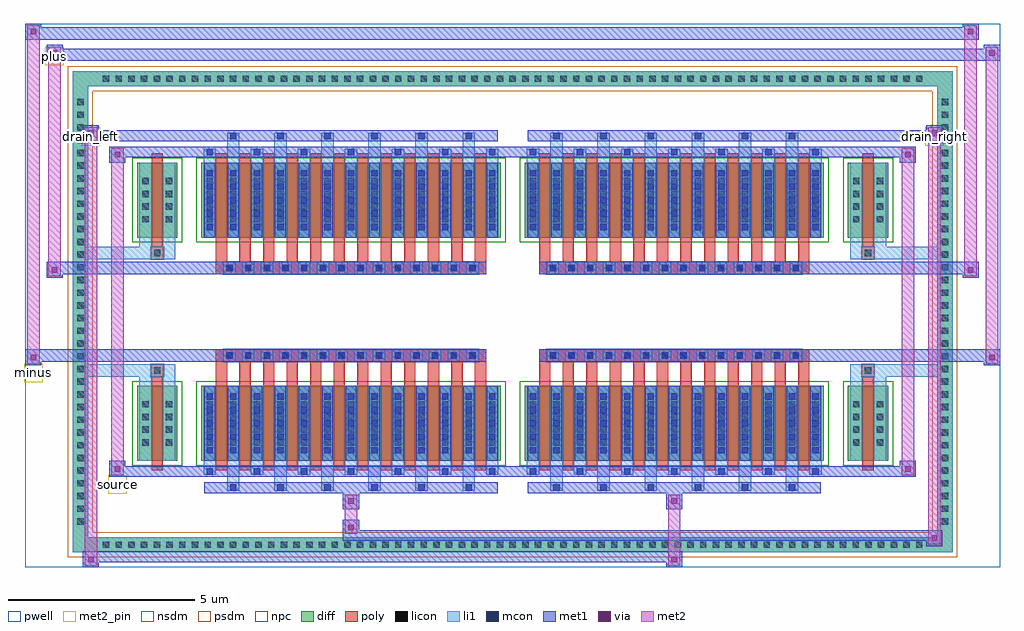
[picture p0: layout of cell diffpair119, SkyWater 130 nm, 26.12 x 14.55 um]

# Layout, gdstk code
import gdstk
lib = gdstk.Library(unit=1e-6, precision=5e-09)
def R(c, l, rs):  # rectangles x0, y0, x1, y1
    for r in rs: c.add(gdstk.rectangle(r[:2], r[2:], *l))
def A(c, l, x, y, w, h, nx, ny, dx, dy):  # array of equal rectangles
    R(c, l, [(x+i*dx, y+j*dy, x+i*dx+w, y+j*dy+h) for i in range(nx) for j in range(ny)])
def P(c, l, *ps):  # polygons
    for p in ps: c.add(gdstk.Polygon(p, *l))
pwell = (64, 44)
diff = (65, 20)
poly = (66, 20)
licon = (66, 44)
li1 = (67, 20)
mcon = (67, 44)
met1 = (68, 20)
via = (68, 44)
met2_pin = (69, 16)
met2 = (69, 20)
nsdm = (93, 44)
psdm = (94, 20)
npc = (95, 20)

diffpair119 = lib.new_cell('diffpair119')
R(diffpair119, pwell, [(-13.04,-6.84,13.04,7.71), (-10.36,-5.03,-0.01,-0.805), (0.01,-5.03,10.36,-0.805), (-10.36,0.805,-0.01,5.03), (0.01,0.805,10.36,5.03)])
A(diffpair119, diff, -11.085, -6.44, 0.41, 0.41, 65, 2, 0.34, 12.47)
A(diffpair119, diff, -11.77, -5.815, 0.41, 0.41, 1, 34, 0, 0.34)
A(diffpair119, diff, 11.36, -5.815, 0.41, 0.41, 1, 34, 0, 0.34)
R(diffpair119, diff, [(-11.085,-6.44,11.085,-6.03), (-11.77,-5.815,-11.36,5.815), (11.36,-5.815,11.77,5.815), (-10.05,-3.985,-8.97,-1.985), (-8.33,-3.985,-0.32,-1.985), (0.32,-3.985,8.33,-1.985), (8.97,-3.985,10.05,-1.985), (-10.05,1.985,-8.97,3.985), (-8.33,1.985,-0.32,3.985), (0.32,1.985,8.33,3.985), (8.97,1.985,10.05,3.985), (-11.085,6.03,11.085,6.44)])
P(diffpair119, diff, [(11.77,6.44),(-11.77,6.44),(-11.77,-6.03),(-11.36,-6.03),(-11.36,6.03),(11.36,6.03),(11.36,-6.03),(-11.36,-6.03),(-11.77,-6.03),(-11.77,-6.44),(11.77,-6.44)])
A(diffpair119, poly, -7.94, -4.235, 0.3, 2.5, 12, 2, 0.63, 5.97)
A(diffpair119, poly, 0.71, -4.235, 0.3, 2.5, 12, 2, 0.63, 5.97)
A(diffpair119, poly, -7.94, -1.735, 0.3, 0.4, 12, 2, 0.63, 3.07)
A(diffpair119, poly, 0.71, -1.735, 0.3, 0.4, 12, 2, 0.63, 3.07)
A(diffpair119, poly, -7.74, -1.335, 0.33, 0.33, 14, 2, 0.5, 2.34)
A(diffpair119, poly, 0.91, -1.335, 0.33, 0.33, 14, 2, 0.5, 2.34)
R(diffpair119, poly, [(-9.66,-4.235,-9.36,-1.735), (9.36,-4.235,9.66,-1.735), (-9.675,-1.735,-9.345,-1.405), (-9.675,-1.735,-9.345,-1.405), (9.345,-1.735,9.675,-1.405), (9.345,-1.735,9.675,-1.405), (-7.94,-1.335,-0.71,-1.005), (0.71,-1.335,7.94,-1.005), (-7.94,1.005,-0.71,1.335), (0.71,1.005,7.94,1.335), (-9.675,1.405,-9.345,1.735), (-9.675,1.405,-9.345,1.735), (9.345,1.405,9.675,1.735), (9.345,1.405,9.675,1.735), (-9.66,1.735,-9.36,4.235), (9.36,1.735,9.66,4.235)])
A(diffpair119, licon, -10.965, -6.32, 0.17, 0.17, 65, 2, 0.34, 12.47)
A(diffpair119, licon, -11.65, -5.695, 0.17, 0.17, 1, 34, 0, 0.34)
A(diffpair119, licon, 11.48, -5.695, 0.17, 0.17, 1, 34, 0, 0.34)
A(diffpair119, licon, -9.91, -3.58, 0.17, 0.17, 1, 4, 0, 0.34)
A(diffpair119, licon, -9.28, -3.58, 0.17, 0.17, 1, 4, 0, 0.34)
A(diffpair119, licon, -8.19, -3.58, 0.17, 0.17, 13, 4, 0.63, 0.34)
A(diffpair119, licon, 0.46, -3.58, 0.17, 0.17, 13, 4, 0.63, 0.34)
A(diffpair119, licon, 9.11, -3.58, 0.17, 0.17, 1, 4, 0, 0.34)
A(diffpair119, licon, 9.74, -3.58, 0.17, 0.17, 1, 4, 0, 0.34)
A(diffpair119, licon, -7.66, -1.255, 0.17, 0.17, 14, 2, 0.5, 2.34)
A(diffpair119, licon, 0.99, -1.255, 0.17, 0.17, 14, 2, 0.5, 2.34)
A(diffpair119, licon, -9.91, 2.39, 0.17, 0.17, 1, 4, 0, 0.34)
A(diffpair119, licon, -9.28, 2.39, 0.17, 0.17, 1, 4, 0, 0.34)
A(diffpair119, licon, -8.19, 2.39, 0.17, 0.17, 13, 4, 0.63, 0.34)
A(diffpair119, licon, 0.46, 2.39, 0.17, 0.17, 13, 4, 0.63, 0.34)
A(diffpair119, licon, 9.11, 2.39, 0.17, 0.17, 1, 4, 0, 0.34)
A(diffpair119, licon, 9.74, 2.39, 0.17, 0.17, 1, 4, 0, 0.34)
R(diffpair119, licon, [(-9.595,-1.655,-9.425,-1.485), (9.425,-1.655,9.595,-1.485), (-9.595,1.485,-9.425,1.655), (9.425,1.485,9.595,1.655)])
A(diffpair119, li1, -11.045, -6.4, 0.33, 0.33, 65, 2, 0.34, 12.47)
A(diffpair119, li1, -11.73, -5.775, 0.33, 0.33, 1, 34, 0, 0.34)
A(diffpair119, li1, 11.4, -5.775, 0.33, 0.33, 1, 34, 0, 0.34)
A(diffpair119, li1, -7.64, -4.79, 0.33, 0.805, 6, 2, 1.26, 8.775)
A(diffpair119, li1, -7.56, -4.79, 0.17, 0.17, 6, 2, 1.26, 9.41)
A(diffpair119, li1, 1.01, -4.79, 0.33, 0.805, 6, 2, 1.26, 8.775)
A(diffpair119, li1, 1.09, -4.79, 0.17, 0.17, 6, 2, 1.26, 9.41)
A(diffpair119, li1, -8.27, -4.36, 0.33, 0.375, 7, 2, 1.26, 8.345)
A(diffpair119, li1, -8.19, -4.36, 0.17, 0.17, 7, 2, 1.26, 8.55)
A(diffpair119, li1, 0.38, -4.36, 0.33, 0.375, 7, 2, 1.26, 8.345)
A(diffpair119, li1, 0.46, -4.36, 0.17, 0.17, 7, 2, 1.26, 8.55)
A(diffpair119, li1, -8.27, -3.985, 0.33, 2, 13, 2, 0.63, 5.97)
A(diffpair119, li1, 0.38, -3.985, 0.33, 2, 13, 2, 0.63, 5.97)
A(diffpair119, li1, -8.19, -3.79, 0.17, 0.17, 13, 5, 0.63, 0.36)
A(diffpair119, li1, -8.19, -3.79, 0.17, 1.61, 13, 2, 0.63, 5.97)
A(diffpair119, li1, 0.46, -3.79, 0.17, 0.17, 13, 5, 0.63, 0.36)
A(diffpair119, li1, 0.46, -3.79, 0.17, 1.61, 13, 2, 0.63, 5.97)
A(diffpair119, li1, -9.99, -3.66, 0.33, 0.33, 1, 4, 0, 0.34)
A(diffpair119, li1, -9.36, -3.66, 0.33, 0.33, 1, 4, 0, 0.34)
A(diffpair119, li1, -8.27, -3.66, 0.33, 0.33, 13, 4, 0.63, 0.34)
A(diffpair119, li1, 0.38, -3.66, 0.33, 0.33, 13, 4, 0.63, 0.34)
A(diffpair119, li1, 9.03, -3.66, 0.33, 0.33, 1, 4, 0, 0.34)
A(diffpair119, li1, 9.66, -3.66, 0.33, 0.33, 1, 4, 0, 0.34)
A(diffpair119, li1, -7.74, -1.335, 0.33, 0.33, 14, 2, 0.5, 2.34)
A(diffpair119, li1, 0.91, -1.335, 0.33, 0.33, 14, 2, 0.5, 2.34)
A(diffpair119, li1, -8.19, 2.18, 0.17, 0.17, 13, 5, 0.63, 0.36)
A(diffpair119, li1, 0.46, 2.18, 0.17, 0.17, 13, 5, 0.63, 0.36)
A(diffpair119, li1, -9.99, 2.31, 0.33, 0.33, 1, 4, 0, 0.34)
A(diffpair119, li1, -9.36, 2.31, 0.33, 0.33, 1, 4, 0, 0.34)
A(diffpair119, li1, -8.27, 2.31, 0.33, 0.33, 13, 4, 0.63, 0.34)
A(diffpair119, li1, 0.38, 2.31, 0.33, 0.33, 13, 4, 0.63, 0.34)
A(diffpair119, li1, 9.03, 2.31, 0.33, 0.33, 1, 4, 0, 0.34)
A(diffpair119, li1, 9.66, 2.31, 0.33, 0.33, 1, 4, 0, 0.34)
R(diffpair119, li1, [(-11.77,-6.44,-11.36,-6.03), (-11.77,-6.44,-11.36,-6.03), (-11.36,-6.44,11.36,-6.03), (11.36,-6.44,11.77,-6.03), (11.36,-6.44,11.77,-6.03), (-11.77,-6.03,-11.36,6.03), (11.36,-6.03,11.77,6.03), (-9.99,-3.985,-9.66,-1.985), (-9.36,-3.985,-9.03,-1.985), (9.03,-3.985,9.36,-1.985), (9.66,-3.985,9.99,-1.985), (-9.99,-1.985,-9.66,-1.405), (-9.36,-1.985,-9.03,-1.405), (9.03,-1.985,9.36,-1.405), (9.66,-1.985,9.99,-1.405), (-11.77,-1.735,-9.675,-1.405), (-9.99,-1.735,-9.675,-1.405), (-9.675,-1.735,-9.345,-1.405), (-9.345,-1.735,-9.03,-1.405), (9.03,-1.735,9.345,-1.405), (9.345,-1.735,9.675,-1.405), (9.345,-1.735,11.77,-1.405), (9.675,-1.735,9.99,-1.405), (-11.77,1.405,-9.675,1.735), (-9.99,1.405,-9.675,1.735), (-9.99,1.405,-9.66,1.985), (-9.675,1.405,-9.345,1.735), (-9.36,1.405,-9.03,1.985), (-9.345,1.405,-9.03,1.735), (9.03,1.405,9.345,1.735), (9.03,1.405,9.36,1.985), (9.345,1.405,9.675,1.735), (9.345,1.405,11.77,1.735), (9.66,1.405,9.99,1.985), (9.675,1.405,9.99,1.735), (-9.99,1.985,-9.66,3.985), (-9.36,1.985,-9.03,3.985), (9.03,1.985,9.36,3.985), (9.66,1.985,9.99,3.985), (-11.77,6.03,-11.36,6.44), (-11.77,6.03,-11.36,6.44), (-11.36,6.03,11.36,6.44), (11.36,6.03,11.77,6.44), (11.36,6.03,11.77,6.44)])
A(diffpair119, mcon, -7.56, -4.79, 0.17, 0.17, 6, 2, 1.26, 9.41)
A(diffpair119, mcon, 1.09, -4.79, 0.17, 0.17, 6, 2, 1.26, 9.41)
A(diffpair119, mcon, -8.19, -4.36, 0.17, 0.17, 7, 2, 1.26, 8.55)
A(diffpair119, mcon, 0.46, -4.36, 0.17, 0.17, 7, 2, 1.26, 8.55)
A(diffpair119, mcon, -8.19, -3.79, 0.17, 0.17, 13, 5, 0.63, 0.36)
A(diffpair119, mcon, 0.46, -3.79, 0.17, 0.17, 13, 5, 0.63, 0.36)
A(diffpair119, mcon, -7.66, -1.255, 0.17, 0.17, 14, 2, 0.5, 2.34)
A(diffpair119, mcon, 0.99, -1.255, 0.17, 0.17, 14, 2, 0.5, 2.34)
A(diffpair119, mcon, -8.19, 2.18, 0.17, 0.17, 13, 5, 0.63, 0.36)
A(diffpair119, mcon, 0.46, 2.18, 0.17, 0.17, 13, 5, 0.63, 0.36)
A(diffpair119, met1, -7.62, -4.85, 0.29, 0.29, 6, 2, 1.26, 9.41)
A(diffpair119, met1, 1.03, -4.85, 0.29, 0.29, 6, 2, 1.26, 9.41)
A(diffpair119, met1, -8.25, -4.42, 0.29, 0.29, 7, 2, 1.26, 8.55)
A(diffpair119, met1, 0.4, -4.42, 0.29, 0.29, 7, 2, 1.26, 8.55)
A(diffpair119, met1, -8.25, -3.985, 0.29, 2, 13, 2, 0.63, 5.97)
A(diffpair119, met1, 0.4, -3.985, 0.29, 2, 13, 2, 0.63, 5.97)
A(diffpair119, met1, -8.25, -3.85, 0.29, 0.29, 13, 5, 0.63, 0.36)
A(diffpair119, met1, 0.4, -3.85, 0.29, 0.29, 13, 5, 0.63, 0.36)
A(diffpair119, met1, -7.72, -1.315, 0.29, 0.29, 14, 2, 0.5, 2.34)
A(diffpair119, met1, 0.93, -1.315, 0.29, 0.29, 14, 2, 0.5, 2.34)
A(diffpair119, met1, -8.25, 2.12, 0.29, 0.29, 13, 5, 0.63, 0.36)
A(diffpair119, met1, 0.4, 2.12, 0.29, 0.29, 13, 5, 0.63, 0.36)
R(diffpair119, met1, [(-11.5,-6.84,-11.07,-6.41), (4.11,-6.84,4.54,-6.41), (-11.5,-6.7,4.54,-6.41), (11.07,-6.27,11.5,-5.84), (-4.54,-6.13,11.5,-5.84), (-4.54,-5.99,-4.11,-5.56), (-4.54,-5.28,-4.11,-4.85), (4.11,-5.28,4.54,-4.85), (-8.25,-4.85,-0.4,-4.56), (0.4,-4.85,8.25,-4.56), (-10.79,-4.42,-10.36,-3.99), (-10.79,-4.42,-8.25,-4.13), (-8.25,-4.42,-0.4,-4.13), (-0.4,-4.42,0.4,-4.13), (0.4,-4.42,8.25,-4.13), (8.25,-4.42,10.79,-4.13), (10.36,-4.42,10.79,-3.99), (-13.04,-1.435,-12.61,-1.005), (12.61,-1.435,13.04,-1.005), (-13.04,-1.335,-0.71,-1.005), (-7.94,-1.335,-0.71,-1.005), (0.71,-1.335,7.94,-1.005), (0.71,-1.335,13.04,-1.005), (-12.47,0.905,-12.04,1.335), (12.04,0.905,12.47,1.335), (-12.47,1.005,-7.94,1.335), (-7.94,1.005,-0.71,1.335), (0.71,1.005,7.94,1.335), (7.94,1.005,12.47,1.335), (-10.79,3.99,-10.36,4.42), (10.36,3.99,10.79,4.42), (-10.79,4.13,-8.25,4.42), (-8.25,4.13,-0.4,4.42), (-0.4,4.13,0.4,4.42), (0.4,4.13,8.25,4.42), (8.25,4.13,10.79,4.42), (-11.5,4.56,-11.07,4.99), (-11.5,4.56,-8.25,4.85), (-8.25,4.56,-0.4,4.85), (0.4,4.56,8.25,4.85), (8.25,4.56,11.5,4.85), (11.07,4.56,11.5,4.99), (-12.47,6.71,-12.04,7.14), (-12.47,6.71,-10.36,7.04), (-10.36,6.71,10.36,7.04), (10.36,6.71,13.04,7.04), (12.61,6.71,13.04,7.14), (-13.04,7.28,-12.61,7.71), (-13.04,7.28,-10.36,7.61), (-10.36,7.28,10.36,7.61), (10.36,7.28,12.47,7.61), (12.04,7.28,12.47,7.71)])
R(diffpair119, via, [(-11.36,-6.7,-11.21,-6.55), (4.25,-6.7,4.4,-6.55), (11.21,-6.13,11.36,-5.98), (-4.4,-5.85,-4.25,-5.7), (-4.4,-5.14,-4.25,-4.99), (4.25,-5.14,4.4,-4.99), (-10.65,-4.28,-10.5,-4.13), (10.5,-4.28,10.65,-4.13), (-12.9,-1.295,-12.75,-1.145), (12.75,-1.295,12.9,-1.145), (-12.33,1.045,-12.18,1.195), (12.18,1.045,12.33,1.195), (-10.65,4.13,-10.5,4.28), (10.5,4.13,10.65,4.28), (-11.36,4.7,-11.21,4.85), (11.21,4.7,11.36,4.85), (-12.33,6.85,-12.18,7), (12.75,6.85,12.9,7), (-12.9,7.42,-12.75,7.57), (12.18,7.42,12.33,7.57)])
R(diffpair119, met2_pin, [(-10.825,-4.87,-10.325,-4.37), (-13.075,-1.885,-12.575,-1.385), (-11.535,4.44,-11.035,4.94), (11.035,4.44,11.535,4.94), (-12.505,6.59,-12.005,7.09)])
R(diffpair119, met2, [(-11.45,-6.79,-11.12,-6.46), (-11.45,-6.79,-11.12,4.94), (4.16,-6.79,4.49,-6.46), (4.16,-6.46,4.49,-5.23), (11.12,-6.22,11.45,-5.89), (11.12,-6.22,11.45,4.94), (-4.49,-5.94,-4.16,-5.61), (-4.49,-5.61,-4.16,-5.23), (-4.49,-5.23,-4.16,-4.9), (4.16,-5.23,4.49,-4.9), (-10.74,-4.37,-10.41,-4.04), (-10.74,-4.37,-10.41,4.37), (10.41,-4.37,10.74,-4.04), (10.41,-4.37,10.74,4.37), (-12.99,-1.385,-12.66,-1.055), (-12.99,-1.385,-12.66,7.66), (12.66,-1.385,12.99,-1.055), (12.66,-1.385,12.99,7.09), (-12.42,0.955,-12.09,1.285), (-12.42,0.955,-12.09,7.09), (12.09,0.955,12.42,1.285), (12.09,0.955,12.42,7.66), (-10.74,4.04,-10.41,4.37), (10.41,4.04,10.74,4.37), (-11.45,4.61,-11.12,4.94), (11.12,4.61,11.45,4.94), (-12.42,6.76,-12.09,7.09), (12.66,6.76,12.99,7.09), (-12.99,7.33,-12.66,7.66), (12.09,7.33,12.42,7.66)])
P(diffpair119, met2, [(12.99,-1.385),(12.99,-1.385),(12.99,-1.055),(12.99,-1.055)],
  [(12.99,6.76),(12.99,6.76),(12.99,7.09),(12.99,7.09)],
  [(-12.66,-1.385),(-12.66,-1.385),(-12.66,-1.055),(-12.66,-1.055)],
  [(-12.66,7.33),(-12.66,7.33),(-12.66,7.66),(-12.66,7.66)],
  [(12.42,0.955),(12.42,0.955),(12.42,1.285),(12.42,1.285)],
  [(12.42,7.33),(12.42,7.33),(12.42,7.66),(12.42,7.66)],
  [(-12.09,0.955),(-12.09,0.955),(-12.09,1.285),(-12.09,1.285)],
  [(-12.09,6.76),(-12.09,6.76),(-12.09,7.09),(-12.09,7.09)],
  [(-11.12,-6.79),(-11.12,-6.79),(-11.12,-6.46),(-11.12,-6.46)],
  [(-11.12,4.61),(-11.12,4.61),(-11.12,4.94),(-11.12,4.94)],
  [(11.45,-6.22),(11.45,-6.22),(11.45,-5.89),(11.45,-5.89)],
  [(11.45,4.61),(11.45,4.61),(11.45,4.94),(11.45,4.94)],
  [(-10.41,-4.37),(-10.41,-4.37),(-10.41,-4.04),(-10.41,-4.04)],
  [(-10.41,4.04),(-10.41,4.04),(-10.41,4.37),(-10.41,4.37)],
  [(10.74,-4.37),(10.74,-4.37),(10.74,-4.04),(10.74,-4.04)],
  [(10.74,4.04),(10.74,4.04),(10.74,4.37),(10.74,4.37)])
R(diffpair119, nsdm, [(-10.18,-4.115,-8.84,-1.855), (-8.46,-4.115,-0.19,-1.855), (0.19,-4.115,8.46,-1.855), (8.84,-4.115,10.18,-1.855), (-10.18,1.855,-8.84,4.115), (-8.46,1.855,-0.19,4.115), (0.19,1.855,8.46,4.115), (8.84,1.855,10.18,4.115)])
P(diffpair119, psdm, [(11.9,6.57),(-11.9,6.57),(-11.9,-5.9),(-11.23,-5.9),(-11.23,5.9),(11.23,5.9),(11.23,-5.9),(-11.23,-5.9),(-11.9,-5.9),(-11.9,-6.57),(11.9,-6.57)])
A(diffpair119, npc, -7.76, -1.355, 0.37, 0.37, 14, 2, 0.5, 2.34)
A(diffpair119, npc, 0.89, -1.355, 0.37, 0.37, 14, 2, 0.5, 2.34)
R(diffpair119, npc, [(-9.695,-1.755,-9.325,-1.385), (9.325,-1.755,9.695,-1.385), (-7.76,-1.355,-6.89,-0.985), (-7.76,-1.355,-6.89,-0.985), (-7.26,-1.355,-6.39,-0.985), (-7.26,-1.355,-6.39,-0.985), (-6.76,-1.355,-5.89,-0.985), (-6.76,-1.355,-5.89,-0.985), (-6.26,-1.355,-5.39,-0.985), (-6.26,-1.355,-5.39,-0.985), (-5.76,-1.355,-4.89,-0.985), (-5.76,-1.355,-4.89,-0.985), (-5.26,-1.355,-4.39,-0.985), (-5.26,-1.355,-4.39,-0.985), (-4.76,-1.355,-3.89,-0.985), (-4.76,-1.355,-3.89,-0.985), (-4.26,-1.355,-3.39,-0.985), (-4.26,-1.355,-3.39,-0.985), (-3.76,-1.355,-2.89,-0.985), (-3.76,-1.355,-2.89,-0.985), (-3.26,-1.355,-2.39,-0.985), (-3.26,-1.355,-2.39,-0.985), (-2.76,-1.355,-1.89,-0.985), (-2.76,-1.355,-1.89,-0.985), (-2.26,-1.355,-1.39,-0.985), (-2.26,-1.355,-1.39,-0.985), (-1.76,-1.355,-0.89,-0.985), (-1.76,-1.355,-0.89,-0.985), (0.89,-1.355,1.76,-0.985), (0.89,-1.355,1.76,-0.985), (1.39,-1.355,2.26,-0.985), (1.39,-1.355,2.26,-0.985), (1.89,-1.355,2.76,-0.985), (1.89,-1.355,2.76,-0.985), (2.39,-1.355,3.26,-0.985), (2.39,-1.355,3.26,-0.985), (2.89,-1.355,3.76,-0.985), (2.89,-1.355,3.76,-0.985), (3.39,-1.355,4.26,-0.985), (3.39,-1.355,4.26,-0.985), (3.89,-1.355,4.76,-0.985), (3.89,-1.355,4.76,-0.985), (4.39,-1.355,5.26,-0.985), (4.39,-1.355,5.26,-0.985), (4.89,-1.355,5.76,-0.985), (4.89,-1.355,5.76,-0.985), (5.39,-1.355,6.26,-0.985), (5.39,-1.355,6.26,-0.985), (5.89,-1.355,6.76,-0.985), (5.89,-1.355,6.76,-0.985), (6.39,-1.355,7.26,-0.985), (6.39,-1.355,7.26,-0.985), (6.89,-1.355,7.76,-0.985), (6.89,-1.355,7.76,-0.985), (-7.76,0.985,-6.89,1.355), (-7.76,0.985,-6.89,1.355), (-7.26,0.985,-6.39,1.355), (-7.26,0.985,-6.39,1.355), (-6.76,0.985,-5.89,1.355), (-6.76,0.985,-5.89,1.355), (-6.26,0.985,-5.39,1.355), (-6.26,0.985,-5.39,1.355), (-5.76,0.985,-4.89,1.355), (-5.76,0.985,-4.89,1.355), (-5.26,0.985,-4.39,1.355), (-5.26,0.985,-4.39,1.355), (-4.76,0.985,-3.89,1.355), (-4.76,0.985,-3.89,1.355), (-4.26,0.985,-3.39,1.355), (-4.26,0.985,-3.39,1.355), (-3.76,0.985,-2.89,1.355), (-3.76,0.985,-2.89,1.355), (-3.26,0.985,-2.39,1.355), (-3.26,0.985,-2.39,1.355), (-2.76,0.985,-1.89,1.355), (-2.76,0.985,-1.89,1.355), (-2.26,0.985,-1.39,1.355), (-2.26,0.985,-1.39,1.355), (-1.76,0.985,-0.89,1.355), (-1.76,0.985,-0.89,1.355), (0.89,0.985,1.76,1.355), (0.89,0.985,1.76,1.355), (1.39,0.985,2.26,1.355), (1.39,0.985,2.26,1.355), (1.89,0.985,2.76,1.355), (1.89,0.985,2.76,1.355), (2.39,0.985,3.26,1.355), (2.39,0.985,3.26,1.355), (2.89,0.985,3.76,1.355), (2.89,0.985,3.76,1.355), (3.39,0.985,4.26,1.355), (3.39,0.985,4.26,1.355), (3.89,0.985,4.76,1.355), (3.89,0.985,4.76,1.355), (4.39,0.985,5.26,1.355), (4.39,0.985,5.26,1.355), (4.89,0.985,5.76,1.355), (4.89,0.985,5.76,1.355), (5.39,0.985,6.26,1.355), (5.39,0.985,6.26,1.355), (5.89,0.985,6.76,1.355), (5.89,0.985,6.76,1.355), (6.39,0.985,7.26,1.355), (6.39,0.985,7.26,1.355), (6.89,0.985,7.76,1.355), (6.89,0.985,7.76,1.355), (-9.695,1.385,-9.325,1.755), (9.325,1.385,9.695,1.755)])
diffpair119.add(gdstk.Label('minus', (-12.825,-1.635), layer=69, texttype=5))
diffpair119.add(gdstk.Label('drain_right', (11.285,4.69), layer=69, texttype=5))
diffpair119.add(gdstk.Label('drain_left', (-11.285,4.69), layer=69, texttype=5))
diffpair119.add(gdstk.Label('source', (-10.575,-4.62), layer=69, texttype=5))
diffpair119.add(gdstk.Label('plus', (-12.255,6.84), layer=69, texttype=5))

lib.write_gds('diffpair119.gds')
